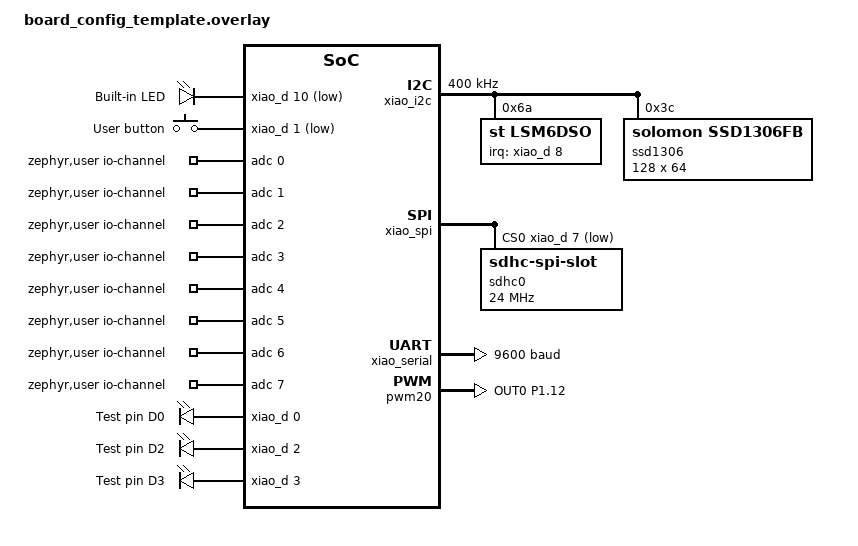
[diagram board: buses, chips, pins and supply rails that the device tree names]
/*
 * XIAO nRF54L15 Board Configuration Template
 * 
 * This file shows common configuration patterns for XIAO nRF54L15 samples.
 * Copy relevant sections to your sample's boards/xiao_nrf54l15_nrf54l15_cpuapp.overlay
 */

/ {
    /* Common aliases - use as needed for your sample */
    aliases {
        led0 = &led_builtin;        /* Built-in LED (orange) */
        sw0 = &user_button;         /* User button on expansion base */
        vbat-reg = &vbat_pwr;      /* Battery voltage regulator */
    };

    /* Built-in LED configuration */
    leds {
        compatible = "gpio-leds";
        led_builtin: led_builtin {
            gpios = <&xiao_d 10 GPIO_ACTIVE_LOW>;
            label = "Built-in LED";
        };
    };

    /* User button (expansion base) */
    buttons {
        compatible = "gpio-keys";
        user_button: button_0 {
            gpios = <&xiao_d 1 (GPIO_PULL_UP | GPIO_ACTIVE_LOW)>;
            label = "User button";
            zephyr,code = <INPUT_KEY_0>;
        };
    };

    /* ADC channels for battery and analog pins */
    zephyr,user {
        io-channels = <&adc 0>, <&adc 1>, <&adc 2>, <&adc 3>,
            <&adc 4>, <&adc 5>, <&adc 6>, <&adc 7>;
    };

    /* GPIO test pins */
    gpio_pins {
        compatible = "gpio-leds";
        
        test_pin_0: test_pin_0 {
            gpios = <&xiao_d 0 GPIO_ACTIVE_HIGH>;
            label = "Test pin D0";
        };
        
        test_pin_2: test_pin_2 {
            gpios = <&xiao_d 2 GPIO_ACTIVE_HIGH>;
            label = "Test pin D2";
        };
        
        test_pin_3: test_pin_3 {
            gpios = <&xiao_d 3 GPIO_ACTIVE_HIGH>;
            label = "Test pin D3";
        };
    };
};

/* I2C configuration for sensors and displays */
&xiao_i2c {
    clock-frequency = <400000>;
    status = "okay";
    
    /* LSM6DSO IMU (on XIAO nRF54L15 Sense) */
    lsm6dso@6a {
        compatible = "st,lsm6dso";
        reg = <0x6a>;
        irq-gpios = <&xiao_d 8 GPIO_ACTIVE_HIGH>;
        label = "LSM6DSO";
    };
    
    /* SSD1306 OLED Display (expansion base) */
    ssd1306@3c {
        compatible = "solomon,ssd1306fb";
        reg = <0x3c>;
        width = <128>;
        height = <64>;
        segment-offset = <0>;
        page-offset = <0>;
        display-offset = <0>;
        multiplex-ratio = <63>;
        prechargep = <0x22>;
    };
};

/* SPI configuration for SD card, external sensors */
&xiao_spi {
    status = "okay";
    cs-gpios = <&xiao_d 7 GPIO_ACTIVE_LOW>;
    
    /* SD Card slot (expansion base) */
    sdhc0: sdhc@0 {
        compatible = "zephyr,sdhc-spi-slot";
        reg = <0>;
        status = "okay";
        spi-max-frequency = <24000000>;
        mmc {
            compatible = "zephyr,sdmmc-disk";
            status = "okay";
        };
    };
};

/* UART configuration for GPS, debug, etc. */
&xiao_serial {
    status = "okay";
    current-speed = <9600>;
};

/* PWM configuration for LEDs, servos, etc. */
&pwm20 {
    status = "okay";
    pinctrl-0 = <&pwm20_default>;
    pinctrl-names = "default";
};

/* Pin control for PWM */
&pinctrl {
    pwm20_default: pwm20_default {
        group1 {
            psels = <NRF_PSEL(PWM_OUT0, 1, 12)>;  /* D0 pin */
        };
    };
};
